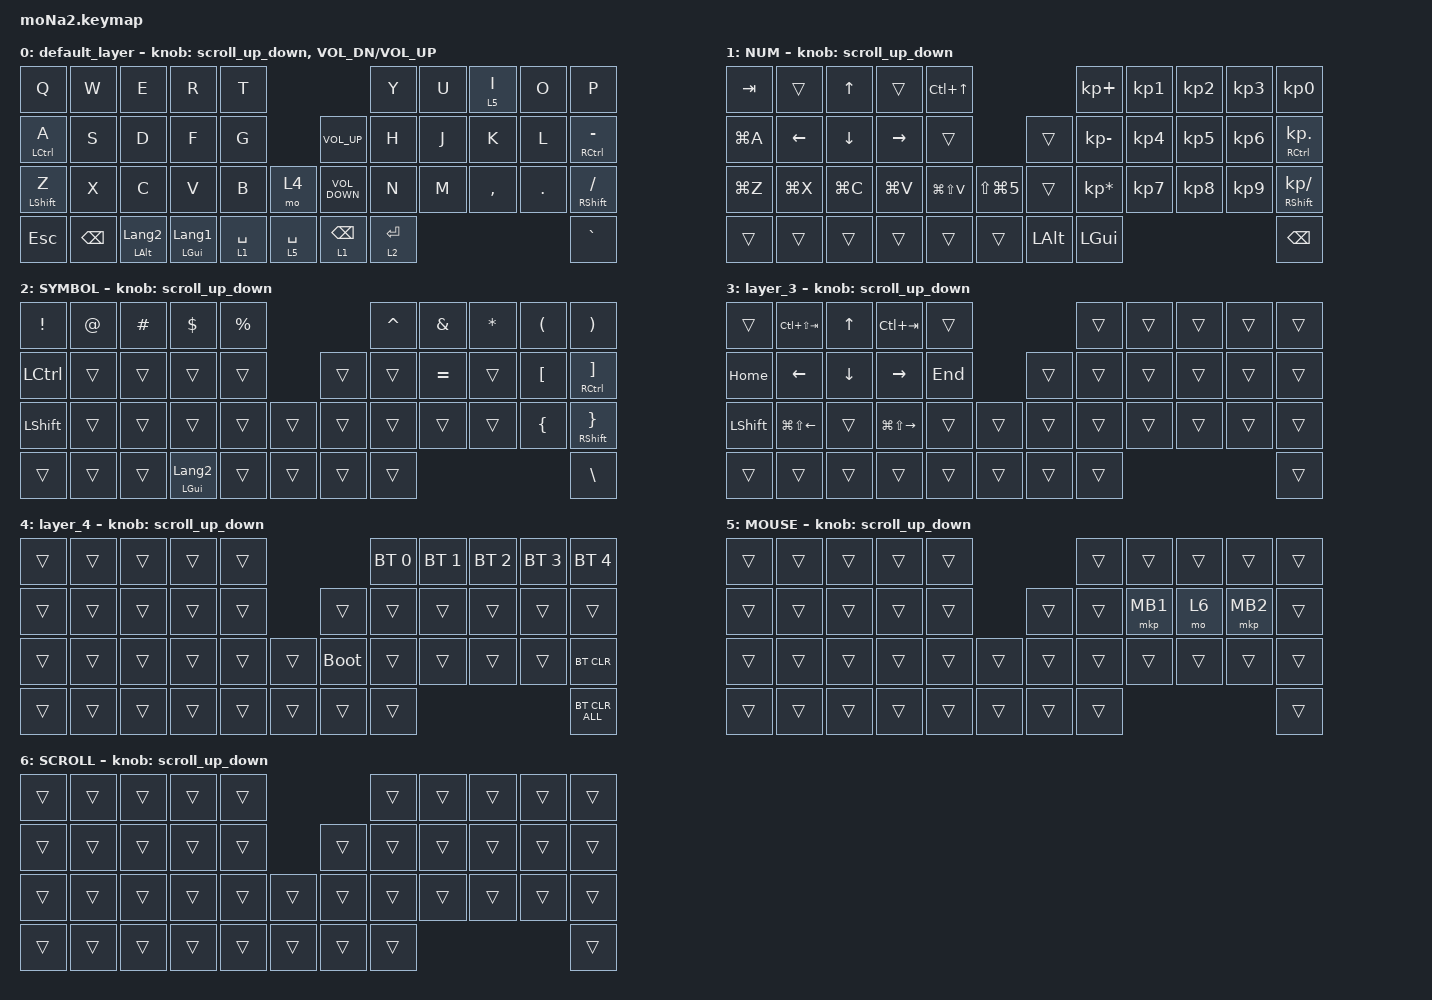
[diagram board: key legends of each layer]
#include <behaviors.dtsi>
#include <dt-bindings/zmk/bt.h>
#include <dt-bindings/zmk/keys.h>
#include <dt-bindings/zmk/pointing.h>

#define ZMK_POINTING_DEFAULT_SCRL_VAL 100
#define MOUSE 5
#define SCROLL 6

&mt {
    flavor = "balanced";
    quick-tap-ms = <0>;
};

/ {
    combos { compatible = "zmk,combos"; };

    macros {
        to_layer_0: to_layer_0 {
            compatible = "zmk,behavior-macro-one-param";
            #binding-cells = <1>;
            bindings = <&to 0 &macro_param_1to1 &kp MACRO_PLACEHOLDER>;
            label = "TO_LAYER_0";
        };
    };

    behaviors {
        lt_to_layer_0: lt_to_layer_0 {
            compatible = "zmk,behavior-hold-tap";
            label = "LAYER_TAP_TO_0";
            bindings = <&mo>, <&to_layer_0>;

            #binding-cells = <2>;
            tapping-term-ms = <200>;
        };

        scroll_up_down: behavior_sensor_rotate_mouse_wheel_up_down {
            compatible = "zmk,behavior-sensor-rotate";
            #sensor-binding-cells = <0>;
            bindings = <&msc SCRL_UP>, <&msc SCRL_DOWN>;

            tap-ms = <20>;
        };
    };

    keymap {
        compatible = "zmk,keymap";

        default_layer {
            bindings = <
&kp Q               &kp W          &kp E                    &kp R                    &kp T                                          &kp Y        &kp U  &lt 5 I    &kp O    &kp P
&mt LEFT_CONTROL A  &kp S          &kp D                    &kp F                    &kp G                       &kp C_VOLUME_UP    &kp H        &kp J  &kp K      &kp L    &mt RIGHT_CONTROL MINUS
&mt LEFT_SHIFT Z    &kp X          &kp C                    &kp V                    &kp B        &mo 4          &kp C_VOLUME_DOWN  &kp N        &kp M  &kp COMMA  &kp DOT  &mt RIGHT_SHIFT SLASH
&kp ESCAPE          &kp BACKSPACE  &mt LEFT_ALT LANGUAGE_2  &mt LEFT_GUI LANGUAGE_1  &lt 1 SPACE  &lt 5 SPACE    &lt 1 BACKSPACE    &lt 2 ENTER                             &kp GRAVE
            >;

            sensor-bindings =
                <&scroll_up_down>,
                <&inc_dec_kp C_VOL_DN C_VOL_UP>;
        };

        NUM {
            bindings = <
&kp TAB    &trans     &kp UP_ARROW  &trans     &kp LC(UP_ARROW)                                        &kp KP_PLUS      &kp KP_NUMBER_1  &kp KP_NUMBER_2  &kp KP_NUMBER_3  &kp KP_NUMBER_0
&kp LG(A)  &kp LEFT   &kp DOWN      &kp RIGHT  &trans                                    &trans        &kp KP_MINUS     &kp KP_NUMBER_4  &kp KP_NUMBER_5  &kp KP_NUMBER_6  &mt RIGHT_CONTROL KP_DOT
&kp LG(Z)  &kp LG(X)  &kp LG(C)     &kp LG(V)  &kp LG(LS(V))     &kp LS(LG(NUMBER_5))    &trans        &kp KP_MULTIPLY  &kp KP_NUMBER_7  &kp KP_NUMBER_8  &kp KP_NUMBER_9  &mt RIGHT_SHIFT KP_SLASH
&trans     &trans     &trans        &trans     &trans            &trans                  &kp LEFT_ALT  &kp LEFT_GUI                                                        &kp BACKSPACE
            >;

            sensor-bindings = <&scroll_up_down>;
        };

        SYMBOL {
            bindings = <
&kp EXCLAMATION   &kp AT_SIGN  &kp HASH  &kp DOLLAR               &kp PERCENT                    &kp CARET  &kp AMPERSAND  &kp ASTERISK  &kp LEFT_PARENTHESIS  &kp RIGHT_PARENTHESIS
&kp LEFT_CONTROL  &trans       &trans    &trans                   &trans                 &trans  &trans     &kp EQUAL      &trans        &kp LEFT_BRACKET      &mt RIGHT_CONTROL RIGHT_BRACKET
&kp LEFT_SHIFT    &trans       &trans    &trans                   &trans       &trans    &trans  &trans     &trans         &trans        &kp LEFT_BRACE        &mt RIGHT_SHIFT RIGHT_BRACE
&trans            &trans       &trans    &mt LEFT_GUI LANGUAGE_2  &trans       &trans    &trans  &trans                                                        &kp BACKSLASH
            >;

            sensor-bindings = <&scroll_up_down>;
        };

        layer_3 {
            bindings = <
&trans          &kp LC(LS(TAB))         &kp UP_ARROW    &kp LC(TAB)              &trans                     &trans  &trans  &trans  &trans  &trans
&kp HOME        &kp LEFT_ARROW          &kp DOWN_ARROW  &kp RIGHT_ARROW          &kp END            &trans  &trans  &trans  &trans  &trans  &trans
&kp LEFT_SHIFT  &kp LG(LS(LEFT_ARROW))  &trans          &kp LG(LS(RIGHT_ARROW))  &trans   &trans    &trans  &trans  &trans  &trans  &trans  &trans
&trans          &trans                  &trans          &trans                   &trans   &trans    &trans  &trans                          &trans
            >;

            sensor-bindings = <&scroll_up_down>;
        };

        layer_4 {
            bindings = <
&trans  &trans  &trans  &trans  &trans                         &bt BT_SEL 0  &bt BT_SEL 1  &bt BT_SEL 2  &bt BT_SEL 3  &bt BT_SEL 4
&trans  &trans  &trans  &trans  &trans            &trans       &trans        &trans        &trans        &trans        &trans
&trans  &trans  &trans  &trans  &trans  &trans    &bootloader  &trans        &trans        &trans        &trans        &bt BT_CLR
&trans  &trans  &trans  &trans  &trans  &trans    &trans       &trans                                                  &bt BT_CLR_ALL
            >;

            sensor-bindings = <&scroll_up_down>;
        };

        MOUSE {
            bindings = <
&trans  &trans  &trans  &trans  &trans                    &trans  &trans    &trans  &trans    &trans
&trans  &trans  &trans  &trans  &trans            &trans  &trans  &mkp MB1  &mo 6   &mkp MB2  &trans
&trans  &trans  &trans  &trans  &trans  &trans    &trans  &trans  &trans    &trans  &trans    &trans
&trans  &trans  &trans  &trans  &trans  &trans    &trans  &trans                              &trans
            >;

            sensor-bindings = <&scroll_up_down>;
        };

        SCROLL {
            bindings = <
&trans  &trans  &trans  &trans  &trans                    &trans  &trans  &trans  &trans  &trans
&trans  &trans  &trans  &trans  &trans            &trans  &trans  &trans  &trans  &trans  &trans
&trans  &trans  &trans  &trans  &trans  &trans    &trans  &trans  &trans  &trans  &trans  &trans
&trans  &trans  &trans  &trans  &trans  &trans    &trans  &trans                          &trans
            >;

            sensor-bindings = <&scroll_up_down>;
        };
    };
};
